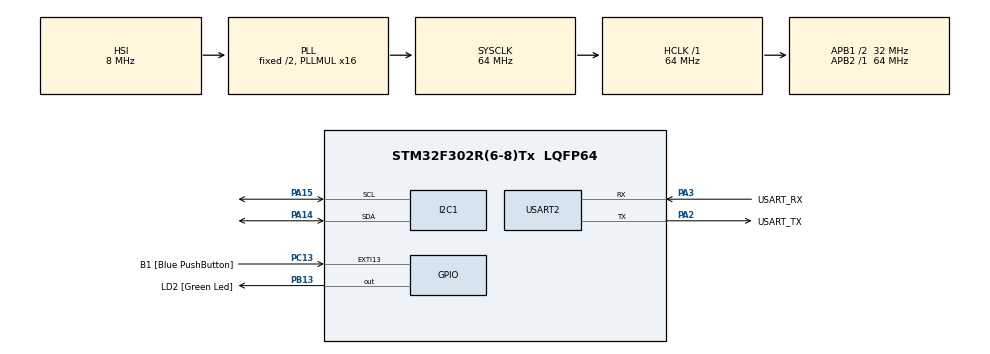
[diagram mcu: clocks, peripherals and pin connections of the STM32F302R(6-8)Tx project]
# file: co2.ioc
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I2C1.Timing=0x00201D2B
Mcu.Family=STM32F3
Mcu.Name=STM32F302R(6-8)Tx
Mcu.Package=LQFP64
NVIC.PriorityGroup=NVIC_PRIORITYGROUP_0
PA13.GPIO_Label=TMS
PA13.Signal=SYS_JTMS-SWDIO
PA14.Mode=I2C
PA14.Signal=I2C1_SDA
PA15.Mode=I2C
PA15.Signal=I2C1_SCL
PA2.GPIO_Label=USART_TX
PA2.GPIO_Mode=GPIO_MODE_AF_PP
PA2.GPIO_PuPd=GPIO_NOPULL
PA2.GPIO_Speed=GPIO_SPEED_FREQ_LOW
PA2.Mode=Asynchronous
PA2.Signal=USART2_TX
PA3.GPIO_Label=USART_RX
PA3.GPIO_Mode=GPIO_MODE_AF_PP
PA3.GPIO_PuPd=GPIO_NOPULL
PA3.GPIO_Speed=GPIO_SPEED_FREQ_LOW
PA3.Mode=Asynchronous
PA3.Signal=USART2_RX
PB13.GPIO_Label=LD2 [Green Led]
PB13.Signal=GPIO_Output
PB3.GPIO_Label=SWO
PB3.Mode=Trace_Asynchronous_SW
PB3.Signal=SYS_JTDO-TRACESWO
PC13.GPIO_Label=B1 [Blue PushButton]
PC13.GPIO_ModeDefaultEXTI=GPIO_MODE_IT_FALLING
PC13.Signal=GPXTI13
PC14\ -\ OSC32_IN.Mode=LSE-External-Oscillator
PC14\ -\ OSC32_IN.Signal=RCC_OSC32_IN
PC15\ -\ OSC32_OUT.Mode=LSE-External-Oscillator
PC15\ -\ OSC32_OUT.Signal=RCC_OSC32_OUT
PF0-OSC_IN.Mode=HSE-External-Clock-Source
PF0-OSC_IN.Signal=RCC_OSC_IN
PF1-OSC_OUT.Signal=RCC_OSC_OUT
ProjectManager.HeapSize=0x200
ProjectManager.StackSize=0x400
ProjectManager.TargetToolchain=STM32CubeIDE
RCC.AHBFreq_Value=64000000
RCC.APB1CLKDivider=RCC_HCLK_DIV2
RCC.APB1Freq_Value=32000000
RCC.APB1TimFreq_Value=64000000
RCC.APB2Freq_Value=64000000
RCC.APB2TimFreq_Value=64000000
RCC.CortexFreq_Value=64000000
RCC.HCLKFreq_Value=64000000
RCC.HSE_VALUE=8000000
RCC.HSI_VALUE=8000000
RCC.PLLM=8
RCC.PLLMUL=RCC_PLL_MUL16
RCC.PLLN=336
RCC.PLLP=RCC_PLLP_DIV4
RCC.PLLQ=7
RCC.RCC_PLLsource_Clock_Source_FROM_HSE=RCC_HSE_PREDIV_DIV2
RCC.SYSCLKFreq_VALUE=64000000
RCC.SYSCLKSourceVirtual=RCC_SYSCLKSOURCE_PLLCLK
RCC.USBFreq_Value=64000000
USART2.VirtualMode-Asynchronous=VM_ASYNC
board=NUCLEO-F302R8

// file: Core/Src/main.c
/* USER CODE BEGIN Header */
/**
  ******************************************************************************
  * @file           : main.c
  * @brief          : Main program body
  ******************************************************************************
  * @attention
  *
  * Copyright (c) 2025 STMicroelectronics.
  * All rights reserved.
  *
  * This software is licensed under terms that can be found in the LICENSE file
  * in the root directory of this software component.
  * If no LICENSE file comes with this software, it is provided AS-IS.
  *
  ******************************************************************************
  */
/* USER CODE END Header */
#include "main.h"
#include "stm32f3xx_hal.h"
#include <stdio.h>
#include <string.h>
#include <float.h>

/* USER CODE BEGIN PD */

#define ENS160_I2C_ADDR 0x53 << 1
#define ENS160_REG_ECO2 0x24
#define ENS160_REG_TEMPERATURE 0x30
#define ENS160_REG_QUALITY 0x21
#define AHT21_I2C_ADDR 0x38 << 1
#define ENS160_TEMP_IN 0x13
#define ENS160_RH_IN   0x15

/* USER CODE END PD */

I2C_HandleTypeDef hi2c1;

UART_HandleTypeDef huart2;

void SystemClock_Config(void);
static void MX_GPIO_Init(void);
static void MX_USART2_UART_Init(void);
static void MX_I2C1_Init(void);
void ENS160_Read(void);
void ENS160_Init(void);
void AHT21_Read(float *temperature, float *humidity);

/* USER CODE BEGIN 0 */
//Setting opmode to active
void ENS160_Init(void) {
    uint8_t opmode = 0x02;
    HAL_Delay(100);

    HAL_I2C_Mem_Write(&hi2c1, ENS160_I2C_ADDR, 0x10, I2C_MEMADD_SIZE_8BIT, &opmode, 1, HAL_MAX_DELAY);
}
//Reading co2 level
void ENS160_Read(void) {

    uint8_t eco2_raw[2] = {0};
    uint16_t eco2_val = 0;
    uint8_t temperature_raw[2] = {0};
    uint16_t temperature_val = 0;
    float temperature_c = 0;
    uint8_t air_quality = 0;
    float aht_temp = 0.0f;
    float aht_humi = 0.0f;
    AHT21_Read(&aht_temp, &aht_humi);

    // Format as ENS160 expects
    uint16_t ens_temp = (uint16_t)((aht_temp + 273.15f) * 64.0f);
    uint16_t ens_rh   = (uint16_t)(aht_humi * 512.0f);

    // Write to ENS160
    HAL_I2C_Mem_Write(&hi2c1, ENS160_I2C_ADDR, ENS160_TEMP_IN, I2C_MEMADD_SIZE_8BIT, (uint8_t*)&ens_temp, 2, HAL_MAX_DELAY);
    HAL_I2C_Mem_Write(&hi2c1, ENS160_I2C_ADDR, ENS160_RH_IN, I2C_MEMADD_SIZE_8BIT, (uint8_t*)&ens_rh, 2, HAL_MAX_DELAY);

    // Read eCO2
    HAL_I2C_Mem_Read(&hi2c1, ENS160_I2C_ADDR, ENS160_REG_ECO2, I2C_MEMADD_SIZE_8BIT, eco2_raw, 2, HAL_MAX_DELAY);
    eco2_val = (eco2_raw[1]<<8)|eco2_raw[0];

    // Read temperature (actual, from 0x30)
    HAL_I2C_Mem_Read(&hi2c1, ENS160_I2C_ADDR, ENS160_REG_TEMPERATURE, I2C_MEMADD_SIZE_8BIT, temperature_raw, 2, HAL_MAX_DELAY);
    temperature_val = (temperature_raw[1]<<8)|temperature_raw[0];
    temperature_c = ((float)temperature_val / 64.0) - 273.15;

    // Read air quality index
    HAL_I2C_Mem_Read(&hi2c1, ENS160_I2C_ADDR, ENS160_REG_QUALITY, I2C_MEMADD_SIZE_8BIT, &air_quality, 1, HAL_MAX_DELAY);

    char msg[200];
    snprintf(msg, sizeof(msg), "Humidity: %.2f%%  | Temperature: %.2f C | Air Quality: %d | eCO2: %d ppm\r\n", aht_humi,temperature_c, air_quality, eco2_val);
    HAL_UART_Transmit(&huart2, (uint8_t*)msg, strlen(msg), HAL_MAX_DELAY);
}
//Reading data from AHT21
void AHT21_Read(float *temperature, float *humidity) {
    uint8_t cmd[3] = {0xAC, 0x33, 0x00};
    uint8_t raw_data[6];

    // Trigger measurement
    HAL_I2C_Master_Transmit(&hi2c1, AHT21_I2C_ADDR, cmd, 3, HAL_MAX_DELAY);
    HAL_Delay(80);  // wait for measurement

    // Read 6 bytes
    HAL_I2C_Master_Receive(&hi2c1, AHT21_I2C_ADDR, raw_data, 6, HAL_MAX_DELAY);

    // Extract humidity
    uint32_t raw_humi = ((uint32_t)(raw_data[1]) << 12) |
                        ((uint32_t)(raw_data[2]) << 4) |
                        ((uint32_t)(raw_data[3]) >> 4);

    // Extract temperature
    uint32_t raw_temp = (((uint32_t)(raw_data[3] & 0x0F)) << 16) |
                        ((uint32_t)(raw_data[4]) << 8) |
                        (uint32_t)(raw_data[5]);

    *humidity = ((float)raw_humi / 1048576.0f) * 100.0f;
    *temperature = ((float)raw_temp / 1048576.0f) * 200.0f - 50.0f;
}

/* USER CODE END 0 */

int main(void)
{

  /* MCU Configuration--------------------------------------------------------*/

  /* Reset of all peripherals, Initializes the Flash interface and the Systick. */
  HAL_Init();

  /* Configure the system clock */
  SystemClock_Config();

  /* Initialize all configured peripherals */
  MX_GPIO_Init();
  MX_USART2_UART_Init();
  MX_I2C1_Init();
  /* USER CODE BEGIN 2 */

  ENS160_Init();
  /* USER CODE END 2 */

  /* Infinite loop */
  /* USER CODE BEGIN WHILE */
  while (1)
  {
	  ENS160_Read();
	  HAL_Delay(200);
    /* USER CODE END WHILE */

  }
}

void SystemClock_Config(void)
{
  RCC_OscInitTypeDef RCC_OscInitStruct = {0};
  RCC_ClkInitTypeDef RCC_ClkInitStruct = {0};
  RCC_PeriphCLKInitTypeDef PeriphClkInit = {0};

  /** Initializes the RCC Oscillators according to the specified parameters
  * in the RCC_OscInitTypeDef structure.
  */
  RCC_OscInitStruct.OscillatorType = RCC_OSCILLATORTYPE_HSI;
  RCC_OscInitStruct.HSIState = RCC_HSI_ON;
  RCC_OscInitStruct.HSICalibrationValue = RCC_HSICALIBRATION_DEFAULT;
  RCC_OscInitStruct.PLL.PLLState = RCC_PLL_ON;
  RCC_OscInitStruct.PLL.PLLSource = RCC_PLLSOURCE_HSI;
  RCC_OscInitStruct.PLL.PLLMUL = RCC_PLL_MUL16;
  if (HAL_RCC_OscConfig(&RCC_OscInitStruct) != HAL_OK)
  {
    Error_Handler();
  }

  /** Initializes the CPU, AHB and APB buses clocks
  */
  RCC_ClkInitStruct.ClockType = RCC_CLOCKTYPE_HCLK|RCC_CLOCKTYPE_SYSCLK
                              |RCC_CLOCKTYPE_PCLK1|RCC_CLOCKTYPE_PCLK2;
  RCC_ClkInitStruct.SYSCLKSource = RCC_SYSCLKSOURCE_PLLCLK;
  RCC_ClkInitStruct.AHBCLKDivider = RCC_SYSCLK_DIV1;
  RCC_ClkInitStruct.APB1CLKDivider = RCC_HCLK_DIV2;
  RCC_ClkInitStruct.APB2CLKDivider = RCC_HCLK_DIV1;

  if (HAL_RCC_ClockConfig(&RCC_ClkInitStruct, FLASH_LATENCY_2) != HAL_OK)
  {
    Error_Handler();
  }
  PeriphClkInit.PeriphClockSelection = RCC_PERIPHCLK_I2C1;
  PeriphClkInit.I2c1ClockSelection = RCC_I2C1CLKSOURCE_HSI;
  if (HAL_RCCEx_PeriphCLKConfig(&PeriphClkInit) != HAL_OK)
  {
    Error_Handler();
  }
}

static void MX_I2C1_Init(void)
{

  hi2c1.Instance = I2C1;
  hi2c1.Init.Timing = 0x00201D2B;
  hi2c1.Init.OwnAddress1 = 0;
  hi2c1.Init.AddressingMode = I2C_ADDRESSINGMODE_7BIT;
  hi2c1.Init.DualAddressMode = I2C_DUALADDRESS_DISABLE;
  hi2c1.Init.OwnAddress2 = 0;
  hi2c1.Init.OwnAddress2Masks = I2C_OA2_NOMASK;
  hi2c1.Init.GeneralCallMode = I2C_GENERALCALL_DISABLE;
  hi2c1.Init.NoStretchMode = I2C_NOSTRETCH_DISABLE;
  if (HAL_I2C_Init(&hi2c1) != HAL_OK)
  {
    Error_Handler();
  }

  /** Configure Analogue filter
  */
  if (HAL_I2CEx_ConfigAnalogFilter(&hi2c1, I2C_ANALOGFILTER_ENABLE) != HAL_OK)
  {
    Error_Handler();
  }

  /** Configure Digital filter
  */
  if (HAL_I2CEx_ConfigDigitalFilter(&hi2c1, 0) != HAL_OK)
  {
    Error_Handler();
  }

}

static void MX_USART2_UART_Init(void)
{

  huart2.Instance = USART2;
  huart2.Init.BaudRate = 38400;
  huart2.Init.WordLength = UART_WORDLENGTH_8B;
  huart2.Init.StopBits = UART_STOPBITS_1;
  huart2.Init.Parity = UART_PARITY_NONE;
  huart2.Init.Mode = UART_MODE_TX_RX;
  huart2.Init.HwFlowCtl = UART_HWCONTROL_NONE;
  huart2.Init.OverSampling = UART_OVERSAMPLING_16;
  huart2.Init.OneBitSampling = UART_ONE_BIT_SAMPLE_DISABLE;
  huart2.AdvancedInit.AdvFeatureInit = UART_ADVFEATURE_NO_INIT;
  if (HAL_UART_Init(&huart2) != HAL_OK)
  {
    Error_Handler();
  }

}

static void MX_GPIO_Init(void)
{
  GPIO_InitTypeDef GPIO_InitStruct = {0};

  /* GPIO Ports Clock Enable */
  __HAL_RCC_GPIOC_CLK_ENABLE();
  __HAL_RCC_GPIOF_CLK_ENABLE();
  __HAL_RCC_GPIOA_CLK_ENABLE();
  __HAL_RCC_GPIOB_CLK_ENABLE();

  /*Configure GPIO pin Output Level */
  HAL_GPIO_WritePin(LD2_GPIO_Port, LD2_Pin, GPIO_PIN_RESET);

  /*Configure GPIO pin : B1_Pin */
  GPIO_InitStruct.Pin = B1_Pin;
  GPIO_InitStruct.Mode = GPIO_MODE_IT_FALLING;
  GPIO_InitStruct.Pull = GPIO_NOPULL;
  HAL_GPIO_Init(B1_GPIO_Port, &GPIO_InitStruct);

  /*Configure GPIO pin : LD2_Pin */
  GPIO_InitStruct.Pin = LD2_Pin;
  GPIO_InitStruct.Mode = GPIO_MODE_OUTPUT_PP;
  GPIO_InitStruct.Pull = GPIO_NOPULL;
  GPIO_InitStruct.Speed = GPIO_SPEED_FREQ_LOW;
  HAL_GPIO_Init(LD2_GPIO_Port, &GPIO_InitStruct);

}

void Error_Handler(void)
{
  __disable_irq();
  while (1)
  {
  }
}
